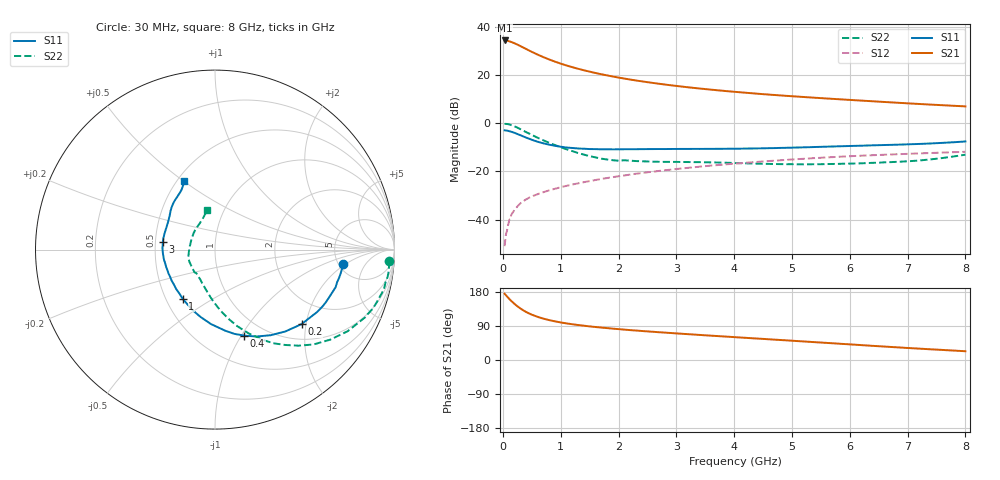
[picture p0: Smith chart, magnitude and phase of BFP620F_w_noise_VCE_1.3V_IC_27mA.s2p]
! Infineon Technologies  Discrete & RF Semiconductors
! BFP620F
! VCE =  1.3 V,  IC =  27 mA
! Common Emitter S-Parameters:  Dec 2014
# GHz  S  MA  R  50
!  f  S11  S21  S12  S22
! GHz  MAG  ANG  MAG  ANG  MAG  ANG  MAG  ANG
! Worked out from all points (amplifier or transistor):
!   95 points, 30 MHz to 8 GHz, reference 50 ohm
!   highest |S21| = 34.5 dB at 30 MHz (marker M1)
!   |S21| within 3 dB of that: start of sweep to 356.7 MHz
!   unconditionally stable (mu >= 1): 2.599 GHz to end of sweep
!   at 300 MHz: K = 0.35, MSG = 32.7 dB, |S12| = -33.3 dB
!   at 3.3 GHz: K = 1.02, MAG = 15.7 dB, |S12| = -18.3 dB
!   at 8 GHz: K = 1.06, MAG = 8.0 dB, |S12| = -11.8 dB
!   lowest NFmin = 1.05 dB at 450 MHz
!   S11 on the Smith chart (normalised r, x): 30 MHz: 5.44, -1.85; 200 MHz: 1.35, -1.89; 400 MHz: 0.80, -1.03; 1 GHz: 0.61, -0.37; 3 GHz: 0.55, +0.05; 8 GHz: 0.54, +0.51
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0.03  0.7177 -6.6  52.88 174.9  0.0028 88.7  0.9721 -3.9
0.06  0.7085 -13.0  52.56 169.8  0.0053 91.6  0.9735 -9.1
0.08  0.704 -17.3  52.05 166.3  0.0068 87.5  0.9667 -12.8
0.12  0.6832 -25.6  50.33 159.7  0.0101 80.1  0.942 -19.6
0.15  0.6669 -31.4  49 155.2  0.0128 78.1  0.9173 -24.3
0.2  0.6364 -40.7  46.24 148.2  0.0158 72.6  0.8678 -31.6
0.25  0.6015 -49.3  43.44 141.9  0.0187 70.6  0.8149 -38.0
0.3  0.5689 -57.0  40.6 136.3  0.0216 68.1  0.7622 -43.9
0.4  0.5062 -71.2  35.27 126.9  0.0262 65.1  0.6602 -53.6
0.5  0.456 -82.7  30.68 119.7  0.0303 63.2  0.5758 -61.5
0.6  0.4155 -93.1  26.9 113.9  0.0337 62.0  0.5031 -68.1
0.7  0.3844 -101.9  23.84 109.2  0.0371 61.7  0.4441 -73.8
0.8  0.3608 -109.9  21.29 105.3  0.0405 61.1  0.3952 -78.7
1  0.3275 -123.4  17.46 99.1  0.0471 61.0  0.3194 -87.5
1.4  0.2971 -144.4  12.71 90.5  0.0599 61.0  0.2242 -103.9
2  0.2882 -166.0  8.956 81.5  0.0795 59.9  0.1674 -128.7
2.7  0.2928 177.6  6.658 73.3  0.1026 57.3  0.159 -148.1
3  0.2936 171.8  6.002 70.2  0.1124 55.8  0.1582 -153.9
4.1  0.298 154.8  4.427 59.4  0.1484 49.8  0.1488 -170.6
5.4  0.3225 140.8  3.408 47.0  0.1898 41.1  0.1416 162.8
6.7  0.3571 127.6  2.738 34.5  0.2252 31.5  0.1563 133.7
8  0.4206 114.1  2.254 23.1  0.2563 22.2  0.223 101.6
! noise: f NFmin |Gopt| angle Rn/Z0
0.45  1.05  0.02  -178  0.19
0.9  1.09  0.03  -171  0.15
1.5  1.1  0.05  -151  0.16
1.8  1.12  0.06  -148  0.17
1.9  1.12  0.07  -148  0.16
2.4  1.14  0.08  -147  0.16
3.5  1.21  0.11  -143  0.17
5.5  1.36  0.19  238  0.12
6  1.4  0.2  259  0.15
